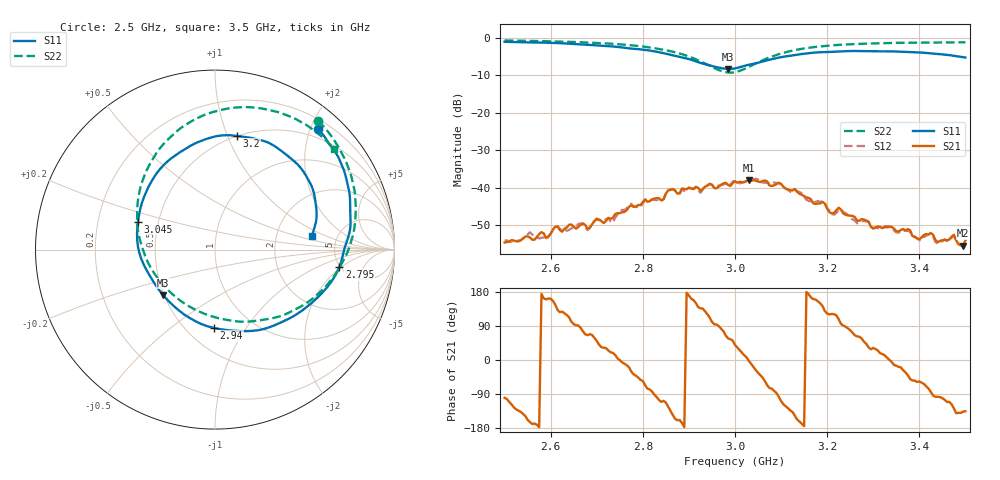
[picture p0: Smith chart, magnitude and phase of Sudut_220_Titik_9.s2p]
# Hz S RI R 50
! CMT, C1220, 16058040, 17.2.0/1
! Date: 15/08/2018 09:49:14
! Data: Format (Calibration Info)
! Freq  S11: Re/Im (F2)  S21: Re/Im (F2)  S12: Re/Im (F2)  S22: Re/Im (F2)
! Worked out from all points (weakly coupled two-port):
!   201 points, 2.5 GHz to 3.5 GHz, reference 50 ohm
!   highest |S21| = -37.91 dB at 3.03 GHz (marker M1); lowest = -55.4 dB at 3.495 GHz (marker M2)
!   lowest |S11| = -8.3 dB at 2.985 GHz (marker M3), VSWR 2.25, Z = 24.7 - j14.6 ohm
!   |S11| at or under -10 dB: nowhere
!   |S22| runs from -9.3 to -0.7 dB; largest |S21 - S12| = 0.0011
!   S11 on the Smith chart (normalised r, x): 2.5 GHz: 0.35, +2.13; 2.795 GHz: 4.94, -1.87; 2.94 GHz: 0.67, -0.72; 3.045 GHz: 0.38, +0.15; 3.2 GHz: 0.50, +1.08; 3.5 GHz: 3.23, +0.69
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2.5e9  0.5757 0.6695  -0.000327 -0.00184  -0.000316 -0.00196  0.5752 0.7179
2.59e9  0.6856 0.5179  -0.00202 0.000732  -0.00198 0.000622  0.6723 0.5966
2.67e9  0.747 0.3279  0.000829 0.00326  0.001 0.00307  0.7476 0.4451
2.735e9  0.7543 0.1292  0.00377 0.00128  0.00328 0.00105  0.7821 0.2771
2.775e9  0.7165 -0.0131  0.00504 -0.00301  0.00513 -0.00334  0.7797 0.1478
2.795e9  0.6935 -0.0963  0.00361 -0.00467  0.00341 -0.00442  0.7677 0.0766
2.835e9  0.5933 -0.2447  -0.00194 -0.00701  -0.00166 -0.00679  0.7048 -0.0796
2.94e9  -0.0068 -0.4362  -0.0055 0.00922  -0.00566 0.00912  0.1757 -0.4021
2.985e9  -0.2899 -0.2524  0.00597 0.0092  0.00562 0.0095  -0.1773 -0.2957
3e9  -0.3584 -0.1539  0.00939 0.00778  0.00989 0.00728  -0.2781 -0.2077
3.03e9  -0.4334 0.0519  0.0127 -0.000525  0.0125 -0.000384  -0.4071 0.0161
3.045e9  -0.4292 0.1559  0.0111 -0.00555  0.0119 -0.00575  -0.4331 0.1387
3.105e9  -0.2654 0.4907  -0.00463 -0.00922  -0.00475 -0.0089  -0.3258 0.5387
3.17e9  0.00843 0.632  -0.00587 0.00205  -0.00607 0.00158  -0.0705 0.7453
3.2e9  0.123 0.6331  -0.00284 0.00444  -0.00271 0.0047  0.0428 0.7803
3.335e9  0.4773 0.4551  0.00303 1.94e-05  0.00304 -0.000132  0.4171 0.7418
3.4e9  0.5484 0.3251  0.00114 -0.00172  0.000946 -0.00177  0.5345 0.6768
3.425e9  0.5599 0.264  0.000252 -0.0025  0.000185 -0.00247  0.5719 0.6485
3.44e9  0.5653 0.2242  -0.000231 -0.00187  -0.000281 -0.00179  0.5939 0.6307
3.475e9  0.5582 0.1369  -0.00145 -0.00188  -0.00136 -0.00182  0.6366 0.5897
3.495e9  0.5436 0.0866  -0.00123 -0.00118  -0.0013 -0.00106  0.6595 0.5646
3.5e9  0.5397 0.0752  -0.00141 -0.0014  -0.00142 -0.00115  0.6652 0.5582
